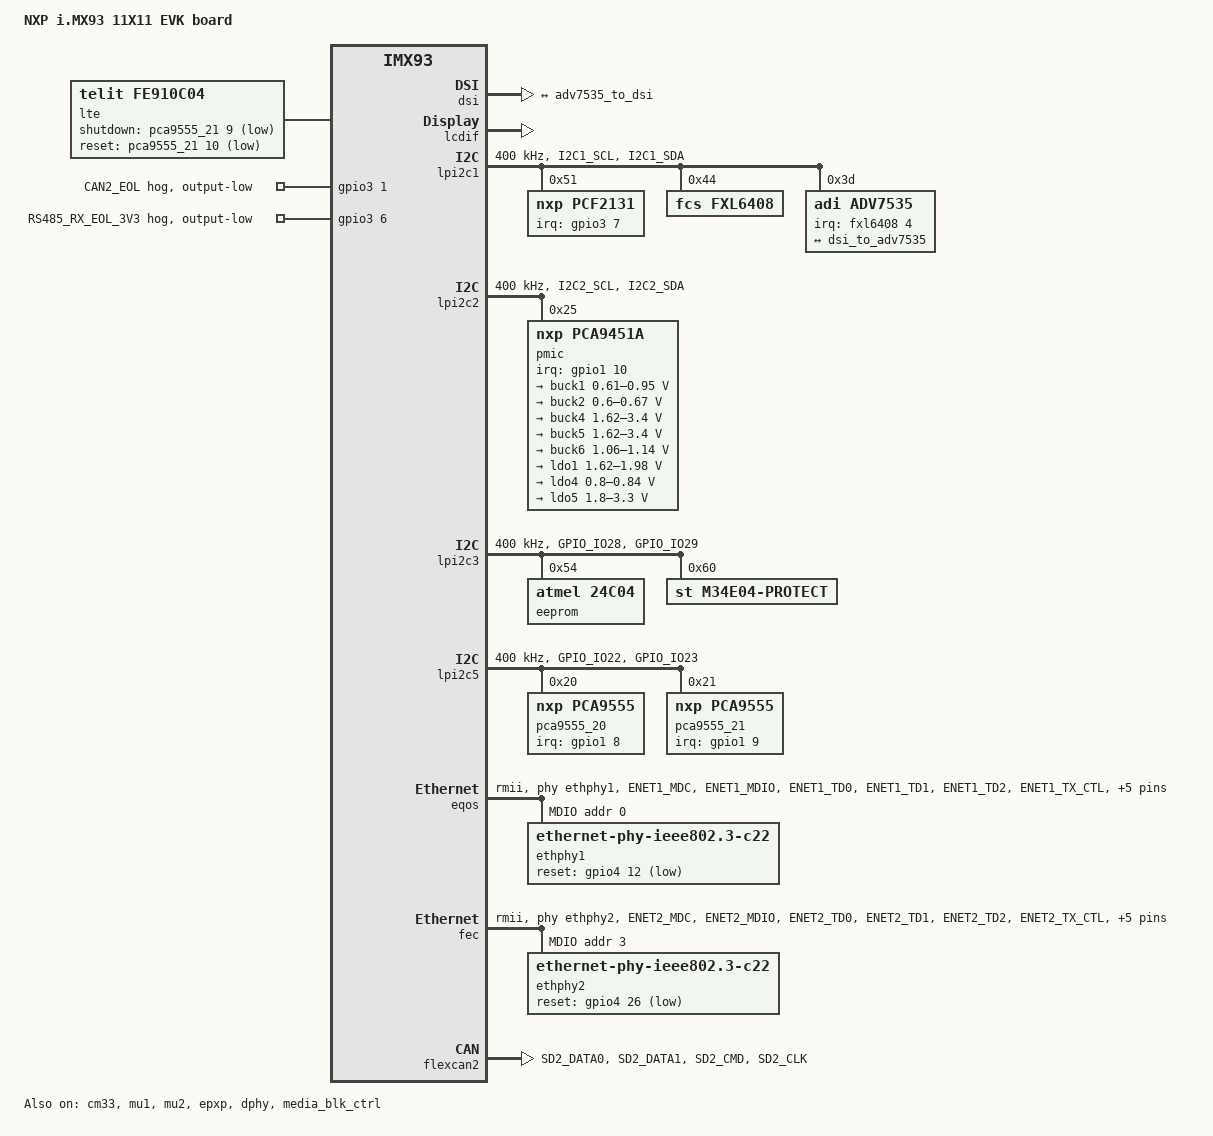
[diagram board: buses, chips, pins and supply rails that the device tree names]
/*
 * Device Tree for the Viridi i.MX93 Board
 *
 * @TYPE: Board Device Tree
 * @NAME: viridi-imx93
 * @SOC: NXP i.MX93
 * @DESCRIPTION:
 *   Board-specific device tree describing the hardware configuration
 *   of the Viridi i.MX93 platform. This file defines SoC integration,
 *   pin multiplexing, peripheral enablement, and board-level resources.
 *
 * @MAINTAINER: Aitor Carrizosa <aitor.carrizosa@futureelectronics.com>
 */

/dts-v1/;

#include <dt-bindings/usb/pd.h>
#include "imx93.dtsi"
#include "viridi-common.dtsi"

&ele_fw2 {
	memory-region = <&ele_reserved>;	//Link firmware region to reserved memory
};

/ {
	model = "NXP i.MX93 11X11 EVK board";
	compatible = "fsl,imx93-11x11-evk", "fsl,imx93";

	chosen {
		stdout-path = &lpuart1;
	};

	reserved-memory {
		#address-cells = <2>;
		#size-cells = <2>;
		ranges;

		linux,cma {											//Contiguous memory for DMA usage
			compatible = "shared-dma-pool";
			reusable;
			alloc-ranges = <0 0x80000000 0 0x40000000>;		//Available region: 1 GB
			size = <0 0x10000000>;							//CMA size = 256 MB
			linux,cma-default;
		};

		ethosu_mem: ethosu_region@C0000000 {
			compatible = "shared-dma-pool";
			reusable;
			reg = <0x0 0xC0000000 0x0 0x10000000>;			//256 MB reserved for Arm Ethos-U NPU
		};

		vdev0vring0: vdev0vring0@a4000000 {
			reg = <0 0xa4000000 0 0x8000>;					//Vring0 for RPMsg (aligned at 32 KB)
			no-map;											//Prevent normal kernel mapping
		};

		vdev0vring1: vdev0vring1@a4008000 {
			reg = <0 0xa4008000 0 0x8000>;					//Vring1 for RPMsg
			no-map;											//Prevent normal kernel mapping
		};

		vdev1vring0: vdev1vring0@a4010000 {
			reg = <0 0xa4010000 0 0x8000>;					//Second channel Vring0
			no-map;											//Prevent normal kernel mapping
		};

		vdev1vring1: vdev1vring1@a4018000 {
			reg = <0 0xa4018000 0 0x8000>;					//Second channel Vring1
			no-map;											//Prevent normal kernel mapping
		};

		rsc_table: rsc-table@2021e000 {
			reg = <0 0x2021e000 0 0x1000>;					//Resource table for CM33 remoteproc
			no-map;											//Prevent normal kernel mapping
		};

		vdevbuffer: vdevbuffer@a4020000 {
			compatible = "shared-dma-pool";
			reg = <0 0xa4020000 0 0x100000>;				//Shared buffer for RPMsg (1 MB)
			no-map;											//Prevent normal kernel mapping
		};

		ele_reserved: ele-reserved@a4120000 {
			compatible = "shared-dma-pool";					//Memory region reserved for EdgeLock Enclave (ELE)
			reg = <0 0xa4120000 0 0x100000>;
			no-map;											//Prevent normal kernel mapping
		};
	};

	ethosu {
		compatible = "arm,ethosu";							// Arm Ethos-U NPU Linked to Cortex-M33
		fsl,cm33-proc = <&cm33>;
		memory-region = <&ethosu_mem>;
		power-domains = <&mlmix>;
	};

	backlight_lvds: backlight-lvds {						//Backlight required for the MIPI (DSI) interface
		compatible = "pwm-backlight";
		pwms = <&fxl6408 0 100000 0>;
		brightness-levels = <0 100>;
		num-interpolated-steps = <100>;
		default-brightness-level = <100>;
		enable-gpios = <&fxl6408 5 GPIO_ACTIVE_HIGH>;
		status = "disabled";
	};

	lte {
		compatible = "telit,fe910c04";
		status = "okay";
		serial = <&lpuart3>;
		shutdown-gpios = <&pca9555_21 9 GPIO_ACTIVE_LOW>;			//IO_Exp(P1_1) = LTE_ON_OFF_1V8
		reset-gpios = <&pca9555_21 10 GPIO_ACTIVE_LOW>;				//IO_Exp(P1_2) = LTE_nSHTD_1V8
		//gnss-lna-gpios = <&pca9555_21 8 GPIO_ACTIVE_HIGH>;			//Opcional: IO_Exp(P1_0) = GNSS LNA controled by SW
		lte_wake_ready {
			compatible = "nxp,lte_wake_ready";
			interrupt-parent = <&gpio2>;
			interrupts = <12 IRQ_TYPE_LEVEL_LOW>;					//CPU(GPIO2_12) = LTE_SW_RDY_1V8 (Has to be an interruption?)
			interrupt-names = "lte-ready";
		};
	};
};

&cm33 {														//Cortex-M33 (CM33)
	mbox-names = "tx", "rx", "rxdb";
	mboxes = <&mu1 0 1>,
		 <&mu1 1 1>,
		 <&mu1 3 1>;
	memory-region = <&vdevbuffer>, <&vdev0vring0>, <&vdev0vring1>,
			<&vdev1vring0>, <&vdev1vring1>, <&rsc_table>;
	fsl,startup-delay-ms = <500>;
	status = "okay";
};

&mu1 {						//Message Units (CPU ↔ CM33)
	status = "okay";
};

&mu2 {						//Message Units (CPU ↔ CM33)
	status = "okay";
};

&epxp {						//Expansion port
	status = "okay";
};

&dsi {
	status = "okay";		//Enable the MIPI DSI controller
	ports {
		port@1 {
			reg = <1>;
			dsi_to_adv7535: endpoint {
				remote-endpoint = <&adv7535_to_dsi>;
			};
		};
	};
};

&dphy {						//DPHY (physical interface for DSI)
	status = "okay";
};

&lcdif {					//LCD Interface
	status = "okay";
	assigned-clock-rates = <445333333>, <148444444>, <400000000>, <133333333>;
};

&media_blk_ctrl {			//Media Block Control (manages display pipeline blocks)
	status = "okay";
};

&lpi2c1 {
	clock-frequency = <400000>;
	pinctrl-names = "default";
	pinctrl-0 = <&pinctrl_lpi2c1>;
	status = "okay";

	/*RTC --> PCF2131TFY*/
	pcf2131: pcf2131@51 {
		compatible = "nxp,pcf2131";
		reg = <0x51>;							//I2C Address (7bit) 0x51 expander --> 0xa3 (8bit)
		status = "okay";
		interrupt-parent = <&gpio3>;
		interrupts = <7 IRQ_TYPE_EDGE_FALLING>;	//GPIO3_IO07 --> CPU
	};

	/*Io Expander --> FXL6408UMX*/
	fxl6408: gpio-expander@44 {
		compatible = "fcs,fxl6408";
		reg = <0x44>;
		gpio-controller;
		#gpio-cells = <2>;
		gpio-line-names = "LED1_nEN", "LED2_nEN", "LED3_nEN", "LED4_nEN",
			"CAN1_EOL", "DSP_CTRL_3V3", "RS485_TX_EOL_3V3", "NC";
		can1_eol_hog {
			gpio-hog;
			gpios = <4 GPIO_ACTIVE_HIGH>;
			output-low;
			line-name = "CAN1_EOL";
		};
	};

	/*MIPI --> DSI*/
	adv7535: dtsi@3d {
		compatible = "adi,adv7535";
		reg = <0x3d>;
		adi,addr-cec = <0x3b>;
		adi,dsi-lanes = <4>;
		status = "okay";
		// The interrupt will be handled from GPIO4 of the IO Expander.
		// The thing is, I don’t know how the SoC will detect the interrupt if no GPIO is connected.
		interrupt-parent = <&fxl6408>;
		interrupts = <4 IRQ_TYPE_LEVEL_LOW>;	//DSI_EN_3V3 GPIO4 of the IO Expander acts as init when the screen is touched
		port {
			adv7535_to_dsi: endpoint {
				remote-endpoint = <&dsi_to_adv7535>;
			};
		};
	};
};

&lpi2c2 {
	clock-frequency = <400000>;
	pinctrl-names = "default", "sleep";
	pinctrl-0 = <&pinctrl_lpi2c2>;
	status = "okay";

	/*PMIC --> PCA9451AHNY*/
	pmic@25 {
		compatible = "nxp,pca9451a";
		reg = <0x25>;
		pinctrl-names = "default";
		pinctrl-0 = <&pinctrl_pmic>;
		interrupt-parent = <&gpio1>;
		interrupts = <10 IRQ_TYPE_EDGE_FALLING>;	//PMIC INT on GPIO1_IO10
		regulators {
			buck1: BUCK1 {
				regulator-name = "BUCK1";
				regulator-min-microvolt = <610000>;
				regulator-max-microvolt = <950000>;
				regulator-boot-on;
				regulator-always-on;
				regulator-ramp-delay = <3125>;
			};

			buck2: BUCK2 {
				regulator-name = "BUCK2";
				regulator-min-microvolt = <600000>;
				regulator-max-microvolt = <670000>;
				regulator-boot-on;
				regulator-always-on;
				regulator-ramp-delay = <3125>;
			};

			buck4: BUCK4{
				regulator-name = "BUCK4";
				regulator-min-microvolt = <1620000>;
				regulator-max-microvolt = <3400000>;
				regulator-boot-on;
				regulator-always-on;
			};

			buck5: BUCK5{
				regulator-name = "BUCK5";
				regulator-min-microvolt = <1620000>;
				regulator-max-microvolt = <3400000>;
				regulator-boot-on;
				regulator-always-on;
			};

			buck6: BUCK6 {
				regulator-name = "BUCK6";
				regulator-min-microvolt = <1060000>;
				regulator-max-microvolt = <1140000>;
				regulator-boot-on;
				regulator-always-on;
			};

			ldo1: LDO1 {
				regulator-name = "LDO1";
				regulator-min-microvolt = <1620000>;
				regulator-max-microvolt = <1980000>;
				regulator-boot-on;
				regulator-always-on;
			};

			ldo4: LDO4 {
				regulator-name = "LDO4";
				regulator-min-microvolt = <800000>;
				regulator-max-microvolt = <840000>;
				regulator-boot-on;
				regulator-always-on;
			};

			ldo5: LDO5 {
				regulator-name = "LDO5";
				regulator-min-microvolt = <1800000>;
				regulator-max-microvolt = <3300000>;
				regulator-boot-on;
				regulator-always-on;
			};
		};
	};
};

&lpi2c3 {
	clock-frequency = <400000>;
	pinctrl-names = "default";
	pinctrl-0 = <&pinctrl_lpi2c3>;
	status = "okay";

	/*Eeprom --> M34E04-FMC9TG*/
	eeprom@54 {
		compatible = "atmel,24c04", "st,m34e04";
		reg = <0x54>;		//I2C Address --> 0xA8 (8 bits) = 0x54 (7 bits)
		pagesize = <16>;
		size = <512>;
	};

	m34e04-protect@60 {
		compatible = "st,m34e04-protect";
		reg = <0x60>;		// Protection --> 0x60 (7 bits)
	};
};

&lpi2c5 {
	clock-frequency = <400000>;
	pinctrl-names = "default";
	pinctrl-0 = <&pinctrl_lpi2c5>;
	status = "okay";

	/*Io Expander --> PCA9555AHF,128*/
	pca9555_20: gpio@20 {
		compatible = "nxp,pca9555";
		reg = <0x20>;							//I2C Address (7bit) 0x20 expander
		pinctrl-names = "default";
		pinctrl-0 = <&pinctrl_pca9555_20>;
		gpio-controller;
		#gpio-cells = <2>;
		interrupt-parent = <&gpio1>;
		interrupts = <8 IRQ_TYPE_LEVEL_LOW>;	//Io Expander INT on GPIO1_IO08
		gpio-line-names = "RS485_nRE_1V8", "RSTRAN_nSHDN_1V8", "RSTRAN_CTRL_1V8",
			"RSTRAN_SEL_1V8", "RSTRAN_DUP_1V8", "CONA_EN", "CONB_EN", "NC",
			"DIGITAL_IN0", "DIGITAL_IN1","DIGITAL_IN2", "DIGITAL_IN3",
			"OUT3_EN", "OUT2_EN", "OUT1_EN", "OUT0_EN";
		rs485_nre_hog {
			gpio-hog;
			gpios = <0 GPIO_ACTIVE_HIGH>;   /* RS485_nRE_1V8 */
			output-low;                     /* RE asserted (active-low) */
			line-name = "RS485_nRE_1V8";
		};
		rstran_nshdn_hog {
			gpio-hog;
			gpios = <4 GPIO_ACTIVE_HIGH>;   /* RSTRAN_nSHDN_1V8 */
			output-high;                    /* not shutdown */
			line-name = "RSTRAN_nSHDN_1V8";
		};
		rstran_ctrl_hog {
			gpio-hog;
			gpios = <3 GPIO_ACTIVE_HIGH>;   /* RSTRAN_CTRL_1V8 */
			output-high;                    /* SLEW = fast */
			line-name = "RSTRAN_CTRL_1V8";
		};
		rstran_sel_hog {
			gpio-hog;
			gpios = <1 GPIO_ACTIVE_HIGH>;   /* RSTRAN_SEL_1V8 */
			output-high;                    /* RS-485 mode */
			line-name = "RSTRAN_SEL_1V8";
		};
		rstran_dup_hog {
			gpio-hog;
			gpios = <2 GPIO_ACTIVE_HIGH>;   /* RSTRAN_DUP_1V8 */
			output-low;                     /* FULL duplex */
			line-name = "RSTRAN_DUP_1V8";
		};
	};

	/*Io Expander --> PCA9555AHF,128*/
	pca9555_21: gpio@21 {
		compatible = "nxp,pca9555";
		reg = <0x21>;							//I2C Address (7bit) 0x21 expander
		pinctrl-names = "default";
		pinctrl-0 = <&pinctrl_pca9555_21>;
		#gpio-cells = <2>;
		gpio-controller;
		interrupt-parent = <&gpio1>;
		interrupts = <9 IRQ_TYPE_LEVEL_LOW>;	//Io Expander INT on GPIO1_IO09
		gpio-line-names = "EXP_IO1", "EXP_IO2",
			"EXP_IO3", "EXP_IO4", "EXP_PWR_EN",
			"WF_nEN_1V8", "WF_nRST_1V8", "BT_nRST_1V8",
			"GNSS_LNA_EN1", "LTE_ON_OFF_1V8",
			"NC", "NC", "NC", "NC", "NC", "NC";
	};
};

&eqos {
	pinctrl-names = "default";
	pinctrl-0 = <&pinctrl_eqos>;
	// pinctrl-1 = <&pinctrl_eqos_sleep>;
	phy-mode = "rmii";
	phy-handle = <&ethphy1>;
	snps,rmii_refclk_ext;
	status = "okay";
	mdio {
		compatible = "snps,dwmac-mdio";
		#address-cells = <1>;
		#size-cells = <0>;
		ethphy1: ethernet-phy@0 {
			compatible = "ethernet-phy-ieee802.3-c22";
			reg = <0>;								//ADDR = 0
			reset-gpios = <&gpio4 12 GPIO_ACTIVE_LOW>;				//Reset controlled by SoC GPIO4_IO12
			reset-assert-us = <10000>;
			reset-deassert-us = <80000>;
		};
	};
};

&fec {
	pinctrl-names = "default";
	pinctrl-0 = <&pinctrl_fec>;
	// pinctrl-1 = <&pinctrl_fec_sleep>;
	phy-mode = "rmii";
	phy-handle = <&ethphy2>;
	fsl,magic-packet;
	fsl,rmii-refclk-in=<&wakeupmix_gpr 0x2c 0x1 0x0>;
	status = "okay";
	mdio {
		compatible = "snps,dwmac-mdio";
		#address-cells = <1>;
		#size-cells = <0>;
		ethphy2: ethernet-phy@3 {
			compatible = "ethernet-phy-ieee802.3-c22";
			reg = <3>;								//ADDR = 3
			reset-gpios = <&gpio4 26 GPIO_ACTIVE_LOW>;				//Reset controlled by SoC GPIO4_IO26
			reset-assert-us = <10000>;
			reset-deassert-us = <80000>;
		};
	};
};

&flexcan2 {
	pinctrl-names = "default";
	pinctrl-0 = <&pinctrl_flexcan2>;
	status = "okay";
	standby-gpios = <&gpio3 2 GPIO_ACTIVE_HIGH>;		//CAN2_STBY
	eol-gpios = <&gpio3 1 GPIO_ACTIVE_HIGH>;			//CAN2_EOL
};

&gpio3 {
	gpio_can2_eol: gpio-can2-eol {
		gpio-hog;
		gpios = <1 GPIO_ACTIVE_HIGH>;		//GPIO3_IO01 = CAN2_EOL
		output-low;
		line-name = "CAN2_EOL";
	};

	gpio_rs485_rx_eol: gpio_rs485_rx_eol {
		gpio-hog;
		gpios = <6 GPIO_ACTIVE_HIGH>;		//GPIO3_IO06 = RS485_RX_EOL_3V3
		output-low;
		line-name = "RS485_RX_EOL_3V3";
	};
};

&iomuxc {
	pinctrl_eqos: eqosgrp {
		fsl,pins = <
			MX93_PAD_ENET1_MDC__ENET_QOS_MDC			0x57e
			MX93_PAD_ENET1_MDIO__ENET_QOS_MDIO			0x57e
			MX93_PAD_ENET1_TD0__ENET_QOS_RGMII_TD0			0x57e
			MX93_PAD_ENET1_TD1__ENET_QOS_RGMII_TD1			0x57e
			MX93_PAD_ENET1_TD2__CCM_ENET_QOS_CLOCK_GENERATE_REF_CLK	0x4000057e
			MX93_PAD_ENET1_TX_CTL__ENET_QOS_RGMII_TX_CTL		0x57e
			MX93_PAD_ENET1_RD0__ENET_QOS_RGMII_RD0			0x57e
			MX93_PAD_ENET1_RD1__ENET_QOS_RGMII_RD1			0x57e
			MX93_PAD_ENET1_RD2__GPIO4_IO12				0x57e
			MX93_PAD_ENET1_RXC__ENET_QOS_RX_ER			0x58e
			MX93_PAD_ENET1_RX_CTL__ENET_QOS_RGMII_RX_CTL		0x57e
		>;
	};

	pinctrl_eqos_sleep: eqosgrpsleep {
		fsl,pins = <
			MX93_PAD_ENET1_MDC__GPIO4_IO00			0x31e
			MX93_PAD_ENET1_MDIO__GPIO4_IO01			0x31e
			MX93_PAD_ENET1_RD0__GPIO4_IO10			0x31e
			MX93_PAD_ENET1_RD1__GPIO4_IO11			0x31e
			MX93_PAD_ENET1_RXC__GPIO4_IO09			0x31e
			MX93_PAD_ENET1_RX_CTL__GPIO4_IO08		0x31e
			MX93_PAD_ENET1_TD0__GPIO4_IO05			0x31e
			MX93_PAD_ENET1_TD1__GPIO4_IO04			0x31e
			MX93_PAD_ENET1_TD2__GPIO4_IO03			0x31e
			MX93_PAD_ENET1_TX_CTL__GPIO4_IO06		0x31e
			MX93_PAD_ENET1_RD2__GPIO4_IO12			0x31e
		>;
	};

	pinctrl_fec: fecgrp {
		fsl,pins = <
			MX93_PAD_ENET2_MDC__ENET1_MDC			0x57e
			MX93_PAD_ENET2_MDIO__ENET1_MDIO			0x57e
			MX93_PAD_ENET2_TD0__ENET1_RGMII_TD0		0x57e
			MX93_PAD_ENET2_TD1__ENET1_RGMII_TD1		0x57e
			MX93_PAD_ENET2_TD2__ENET1_TX_CLK		0x4000057e
			MX93_PAD_ENET2_TX_CTL__ENET1_RGMII_TX_CTL	0x57e
			MX93_PAD_ENET2_RD0__ENET1_RGMII_RD0		0x57e
			MX93_PAD_ENET2_RD1__ENET1_RGMII_RD1		0x57e
			MX93_PAD_ENET2_RD2__GPIO4_IO26			0x57e
			MX93_PAD_ENET2_RXC__ENET1_RX_ER			0x57e
			MX93_PAD_ENET2_RX_CTL__ENET1_RGMII_RX_CTL	0x57e
		>;
	};

	pinctrl_fec_sleep: fecsleepgrp {
		fsl,pins = <
			MX93_PAD_ENET2_MDC__GPIO4_IO14			0x51e
			MX93_PAD_ENET2_MDIO__GPIO4_IO15			0x51e
			MX93_PAD_ENET2_RD0__GPIO4_IO24			0x51e
			MX93_PAD_ENET2_RD1__GPIO4_IO25			0x51e
			MX93_PAD_ENET2_RXC__GPIO4_IO23			0x51e
			MX93_PAD_ENET2_RX_CTL__GPIO4_IO22		0x51e
			MX93_PAD_ENET2_TD0__GPIO4_IO19			0x51e
			MX93_PAD_ENET2_TD1__GPIO4_IO18			0x51e
			MX93_PAD_ENET2_TX_CTL__GPIO4_IO20		0x51e
			MX93_PAD_ENET2_TD2__GPIO4_IO17			0x51e
			MX93_PAD_ENET2_RD2__GPIO4_IO26			0x57e
		>;
	};

	pinctrl_lpi2c1: lpi2c1grp {
		fsl,pins = <
			MX93_PAD_I2C1_SCL__LPI2C1_SCL			0x40000b9e
			MX93_PAD_I2C1_SDA__LPI2C1_SDA			0x40000b9e
		>;
	};

	pinctrl_lpi2c2: lpi2c2grp {
		fsl,pins = <
			MX93_PAD_I2C2_SCL__LPI2C2_SCL			0x40000b9e
			MX93_PAD_I2C2_SDA__LPI2C2_SDA			0x40000b9e
		>;
	};

	pinctrl_pmic: pmic1grp {
		fsl,pins = <
			MX93_PAD_PDM_BIT_STREAM1__GPIO1_IO10		0x31e
		>;
	};

	pinctrl_lpi2c3: lpi2c3grp {
		fsl,pins = <
			MX93_PAD_GPIO_IO28__LPI2C3_SDA			0x40000b9e
			MX93_PAD_GPIO_IO29__LPI2C3_SCL			0x40000b9e
		>;
	};

	pinctrl_lpi2c5: lpi2c5grp {
		fsl,pins = <
			MX93_PAD_GPIO_IO22__LPI2C5_SDA			0x40000b9e
			MX93_PAD_GPIO_IO23__LPI2C5_SCL			0x40000b9e
		>;
	};

	pinctrl_pca9555_20: pca9555_20grp {
		fsl,pins = <
			MX93_PAD_PDM_CLK__GPIO1_IO08			0x31e
		>;
	};

	pinctrl_pca9555_21: pca9555_21grp {
		fsl,pins = <
			MX93_PAD_PDM_BIT_STREAM0__GPIO1_IO09		0x31e
		>;
	};

	pinctrl_lpspi4: lpspi4grp {
		fsl,pins = <
			MX93_PAD_GPIO_IO18__LPSPI4_PCS0			0x43		//CS0 (chip select)
			MX93_PAD_GPIO_IO19__LPSPI4_SIN			0x43
			MX93_PAD_GPIO_IO20__LPSPI4_SOUT			0x43
			MX93_PAD_GPIO_IO21__LPSPI4_SCK			0x43
		>;
	};

	pinctrl_flexcan1: flexcan1grp {
		fsl,pins = <
			MX93_PAD_SAI1_TXD0__CAN1_TX			0x139e
			MX93_PAD_SAI1_TXC__CAN1_RX			0x139e
			MX93_PAD_SAI1_RXD0__GPIO1_IO14			0x139e		//CAN1_STBY
			/* CAN1_EOL moved to FXL6408 GPIO4 - no pinctrl needed */
		>;
	};

	pinctrl_flexcan2: flexcan2grp {
		fsl,pins = <
			MX93_PAD_SD2_DATA0__CAN2_TX			0x139e
			MX93_PAD_SD2_DATA1__CAN2_RX			0x139e
			MX93_PAD_SD2_CMD__GPIO3_IO02			0x139e		//CAN2_STBY
			MX93_PAD_SD2_CLK__GPIO3_IO01			0x139e		//CAN2_EOL
		>;
	};

	pinctrl_uart1: uart1grp {
		fsl,pins = <
			MX93_PAD_UART1_RXD__LPUART1_RX			0x31e
			MX93_PAD_UART1_TXD__LPUART1_TX			0x31e
		>;
	};

	pinctrl_uart3: uart3_pins {
		fsl,pins = <
			MX93_PAD_GPIO_IO14__LPUART3_TX			0x31e
			MX93_PAD_GPIO_IO15__LPUART3_RX			0x31e
			MX93_PAD_GPIO_IO16__LPUART3_CTS_B		0x31e
			MX93_PAD_GPIO_IO17__LPUART3_RTS_B		0x31e
		>;
	};

	pinctrl_uart5: uart5grp {
		fsl,pins = <
			MX93_PAD_GPIO_IO00__LPUART5_TX		0x31e
			MX93_PAD_GPIO_IO01__LPUART5_RX			0x31e
			MX93_PAD_GPIO_IO03__LPUART5_RTS_B		0x31e
			MX93_PAD_GPIO_IO02__LPUART5_CTS_B		0x31e
		>;
	};

	pinctrl_uart6: uart6grp {
		fsl,pins = <
			MX93_PAD_GPIO_IO04__LPUART6_TX			0x31e
			MX93_PAD_GPIO_IO05__LPUART6_RX			0x31e
			MX93_PAD_GPIO_IO06__LPUART6_CTS_B		0x31e
			MX93_PAD_GPIO_IO07__LPUART6_RTS_B		0x31e
		>;
	};

	pinctrl_uart7: uart7grp {
		fsl,pins = <
			MX93_PAD_GPIO_IO08__LPUART7_TX			0x31e
			MX93_PAD_GPIO_IO09__LPUART7_RX			0x31e
			MX93_PAD_GPIO_IO10__LPUART7_CTS_B		0x31e
			MX93_PAD_GPIO_IO11__LPUART7_RTS_B		0x31e
		>;
	};

	pinctrl_usdhc1: usdhc1grp {
		fsl,pins = <
			MX93_PAD_SD1_CLK__USDHC1_CLK			0x1582
			MX93_PAD_SD1_CMD__USDHC1_CMD			0x40001382
			MX93_PAD_SD1_DATA0__USDHC1_DATA0		0x40001382
			MX93_PAD_SD1_DATA1__USDHC1_DATA1		0x40001382
			MX93_PAD_SD1_DATA2__USDHC1_DATA2		0x40001382
			MX93_PAD_SD1_DATA3__USDHC1_DATA3		0x40001382
			MX93_PAD_SD1_DATA4__USDHC1_DATA4		0x40001382
			MX93_PAD_SD1_DATA5__USDHC1_DATA5		0x40001382
			MX93_PAD_SD1_DATA6__USDHC1_DATA6		0x40001382
			MX93_PAD_SD1_DATA7__USDHC1_DATA7		0x40001382
			MX93_PAD_SD1_STROBE__USDHC1_STROBE		0x1582
		>;
	};

	pinctrl_usdhc1_100mhz: usdhc1-100mhzgrp {
		fsl,pins = <
			MX93_PAD_SD1_CLK__USDHC1_CLK			0x158e
			MX93_PAD_SD1_CMD__USDHC1_CMD			0x4000138e
			MX93_PAD_SD1_DATA0__USDHC1_DATA0		0x4000138e
			MX93_PAD_SD1_DATA1__USDHC1_DATA1		0x4000138e
			MX93_PAD_SD1_DATA2__USDHC1_DATA2		0x4000138e
			MX93_PAD_SD1_DATA3__USDHC1_DATA3		0x4000138e
			MX93_PAD_SD1_DATA4__USDHC1_DATA4		0x4000138e
			MX93_PAD_SD1_DATA5__USDHC1_DATA5		0x4000138e
			MX93_PAD_SD1_DATA6__USDHC1_DATA6		0x4000138e
			MX93_PAD_SD1_DATA7__USDHC1_DATA7		0x4000138e
			MX93_PAD_SD1_STROBE__USDHC1_STROBE		0x158e
		>;
	};

	pinctrl_usdhc1_200mhz: usdhc1-200mhzgrp {
		fsl,pins = <
			MX93_PAD_SD1_CLK__USDHC1_CLK			0x15fe
			MX93_PAD_SD1_CMD__USDHC1_CMD			0x400013fe
			MX93_PAD_SD1_DATA0__USDHC1_DATA0		0x400013fe
			MX93_PAD_SD1_DATA1__USDHC1_DATA1		0x400013fe
			MX93_PAD_SD1_DATA2__USDHC1_DATA2		0x400013fe
			MX93_PAD_SD1_DATA3__USDHC1_DATA3		0x400013fe
			MX93_PAD_SD1_DATA4__USDHC1_DATA4		0x400013fe
			MX93_PAD_SD1_DATA5__USDHC1_DATA5		0x400013fe
			MX93_PAD_SD1_DATA6__USDHC1_DATA6		0x400013fe
			MX93_PAD_SD1_DATA7__USDHC1_DATA7		0x400013fe
			MX93_PAD_SD1_STROBE__USDHC1_STROBE		0x15fe
		>;
	};

	pinctrl_reg_usdhc2_vmmc: regusdhc2vmmcgrp {
		fsl,pins = <
			MX93_PAD_SD2_RESET_B__GPIO3_IO07		0x31e
		>;
	};

	pinctrl_usdhc2_gpio: usdhc2gpiogrp {
		fsl,pins = <
			MX93_PAD_SD2_CD_B__GPIO3_IO00			0x31e		//0x31e GPIO config
		>;
	};

	pinctrl_usdhc2_gpio_sleep: usdhc2gpiogrpsleep {
		fsl,pins = <
			MX93_PAD_SD2_CD_B__GPIO3_IO00			0x51e		//0x51e Sleep config
		>;
	};

	pinctrl_usdhc2: usdhc2grp {
		fsl,pins = <
			MX93_PAD_SD2_CLK__USDHC2_CLK			0x1582
			MX93_PAD_SD2_CMD__USDHC2_CMD			0x40001382
			MX93_PAD_SD2_DATA0__USDHC2_DATA0		0x40001382
			MX93_PAD_SD2_DATA1__USDHC2_DATA1		0x40001382
			MX93_PAD_SD2_DATA2__USDHC2_DATA2		0x40001382
			MX93_PAD_SD2_DATA3__USDHC2_DATA3		0x40001382
			MX93_PAD_SD2_VSELECT__USDHC2_VSELECT		0x51e
		>;
	};

	pinctrl_usdhc2_100mhz: usdhc2-100mhzgrp {
		fsl,pins = <
			MX93_PAD_SD2_CLK__USDHC2_CLK			0x158e
			MX93_PAD_SD2_CMD__USDHC2_CMD			0x4000138e
			MX93_PAD_SD2_DATA0__USDHC2_DATA0		0x4000138e
			MX93_PAD_SD2_DATA1__USDHC2_DATA1		0x4000138e
			MX93_PAD_SD2_DATA2__USDHC2_DATA2		0x4000138e
			MX93_PAD_SD2_DATA3__USDHC2_DATA3		0x4000138e
			MX93_PAD_SD2_VSELECT__USDHC2_VSELECT		0x51e
		>;
	};

	pinctrl_usdhc2_200mhz: usdhc2-200mhzgrp {
		fsl,pins = <
			MX93_PAD_SD2_CLK__USDHC2_CLK			0x15fe
			MX93_PAD_SD2_CMD__USDHC2_CMD			0x400013fe
			MX93_PAD_SD2_DATA0__USDHC2_DATA0		0x400013fe
			MX93_PAD_SD2_DATA1__USDHC2_DATA1		0x400013fe
			MX93_PAD_SD2_DATA2__USDHC2_DATA2		0x400013fe
			MX93_PAD_SD2_DATA3__USDHC2_DATA3		0x400013fe
			MX93_PAD_SD2_VSELECT__USDHC2_VSELECT		0x51e
		>;
	};

	pinctrl_usdhc2_sleep: usdhc2grpsleep {
		fsl,pins = <
			MX93_PAD_SD2_CLK__GPIO3_IO01			0x51e
			MX93_PAD_SD2_CMD__GPIO3_IO02			0x51e
			MX93_PAD_SD2_DATA0__GPIO3_IO03			0x51e
			MX93_PAD_SD2_DATA1__GPIO3_IO04			0x51e
			MX93_PAD_SD2_DATA2__GPIO3_IO05			0x51e
			MX93_PAD_SD2_DATA3__GPIO3_IO06			0x51e
			MX93_PAD_SD2_VSELECT__GPIO3_IO19		0x51e
		>;
	};

	pinctrl_usdhc3: usdhc3grp {
		fsl,pins = <
			MX93_PAD_SD3_CLK__USDHC3_CLK			0x1582
			MX93_PAD_SD3_CMD__USDHC3_CMD			0x40001382
			MX93_PAD_SD3_DATA0__USDHC3_DATA0		0x40001382
			MX93_PAD_SD3_DATA1__USDHC3_DATA1		0x40001382
			MX93_PAD_SD3_DATA2__USDHC3_DATA2		0x40001382
			MX93_PAD_SD3_DATA3__USDHC3_DATA3		0x40001382
		>;
	};

	pinctrl_usdhc3_100mhz: usdhc3-100mhzgrp {
		fsl,pins = <
			MX93_PAD_SD3_CLK__USDHC3_CLK			0x15be
			MX93_PAD_SD3_CMD__USDHC3_CMD			0x400013be
			MX93_PAD_SD3_DATA0__USDHC3_DATA0		0x400013be
			MX93_PAD_SD3_DATA1__USDHC3_DATA1		0x400013be
			MX93_PAD_SD3_DATA2__USDHC3_DATA2		0x400013be
			MX93_PAD_SD3_DATA3__USDHC3_DATA3		0x400013be
		>;
	};

	pinctrl_usdhc3_200mhz: usdhc3-200mhzgrp {
		fsl,pins = <
			MX93_PAD_SD3_CLK__USDHC3_CLK			0x15fe
			MX93_PAD_SD3_CMD__USDHC3_CMD			0x400013fe
			MX93_PAD_SD3_DATA0__USDHC3_DATA0		0x400013fe
			MX93_PAD_SD3_DATA1__USDHC3_DATA1		0x400013fe
			MX93_PAD_SD3_DATA2__USDHC3_DATA2		0x400013fe
			MX93_PAD_SD3_DATA3__USDHC3_DATA3		0x400013fe
		>;
	};

	pinctrl_usdhc3_sleep: usdhc3grpsleep {
		fsl,pins = <
			MX93_PAD_SD3_CLK__GPIO3_IO20			0x31e
			MX93_PAD_SD3_CMD__GPIO3_IO21			0x31e
			MX93_PAD_SD3_DATA0__GPIO3_IO22			0x31e
			MX93_PAD_SD3_DATA1__GPIO3_IO23			0x31e
			MX93_PAD_SD3_DATA2__GPIO3_IO24			0x31e
			MX93_PAD_SD3_DATA3__GPIO3_IO25			0x31e
		>;
	};

	pinctrl_wakeup: wakeupgrp {
		fsl,pins = <
			MX93_PAD_ENET1_TD3__GPIO4_IO02			0x31e
			MX93_PAD_ENET1_TXC__GPIO4_IO07			0x31e
			MX93_PAD_ENET2_TD3__GPIO4_IO16			0x31e
		>;
	};
};
